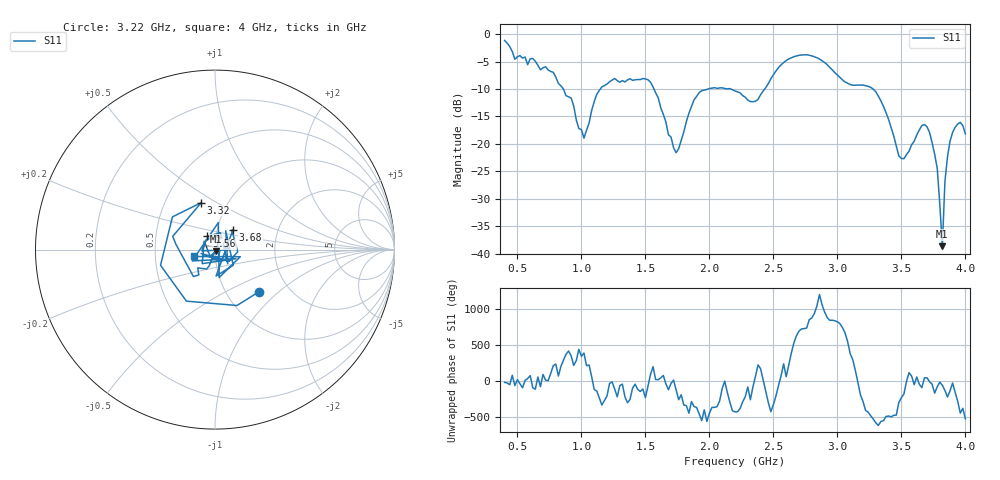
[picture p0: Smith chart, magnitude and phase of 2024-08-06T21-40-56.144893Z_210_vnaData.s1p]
!Created with skrf (http://scikit-rf.org).
# Hz S RI R 50.0
!freq ReS11 ImS11
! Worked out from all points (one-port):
!   181 points, 400 MHz to 4 GHz, reference 50 ohm
!   lowest |S11| = -38.7 dB at 3.82 GHz (marker M1), VSWR 1.02, Z = 50.7 - j0.976 ohm
!   |S11| at or under -10 dB: 859.8 MHz to 1.147 GHz (287.5 MHz wide, 28.7 % of centre); 1.567 GHz to 1.988 GHz (421.4 MHz wide, 23.7 % of centre); 3.279 GHz to end of sweep (the widest 3 of 4)
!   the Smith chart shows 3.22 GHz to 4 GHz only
!   S11 on the Smith chart (normalised r, x): 3.22 GHz: 1.41, -0.75; 3.32 GHz: 0.75, +0.43; 3.56 GHz: 0.91, +0.13; 3.68 GHz: 1.19, +0.27; 4 GHz: 0.79, -0.06
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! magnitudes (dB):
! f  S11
! 400 MHz  -1.1
! 480 MHz  -4.6
! 620 MHz  -4.4
! 860 MHz  -10.0
! 1.02 GHz  -19.0
! 1.12 GHz  -11.0
! 1.3 GHz  -8.7
! 1.54 GHz  -8.8
! 1.72 GHz  -20.7
! 1.76 GHz  -20.9
! 1.92 GHz  -10.6
! 2.2 GHz  -10.3
! 2.36 GHz  -12.2
! 2.66 GHz  -4.1
! 2.86 GHz  -4.5
! 3.1 GHz  -9.2
! 3.22 GHz  -9.4
! 3.32 GHz  -11.3
! 3.48 GHz  -22.2
! 3.56 GHz  -21.3
! 3.68 GHz  -16.5
! 3.72 GHz  -17.9
! 3.78 GHz  -24.5
! 3.82 GHz  -38.7
! 3.84 GHz  -26.9
! 3.88 GHz  -19.5
! 3.96 GHz  -16.1
! 4 GHz  -18.2
